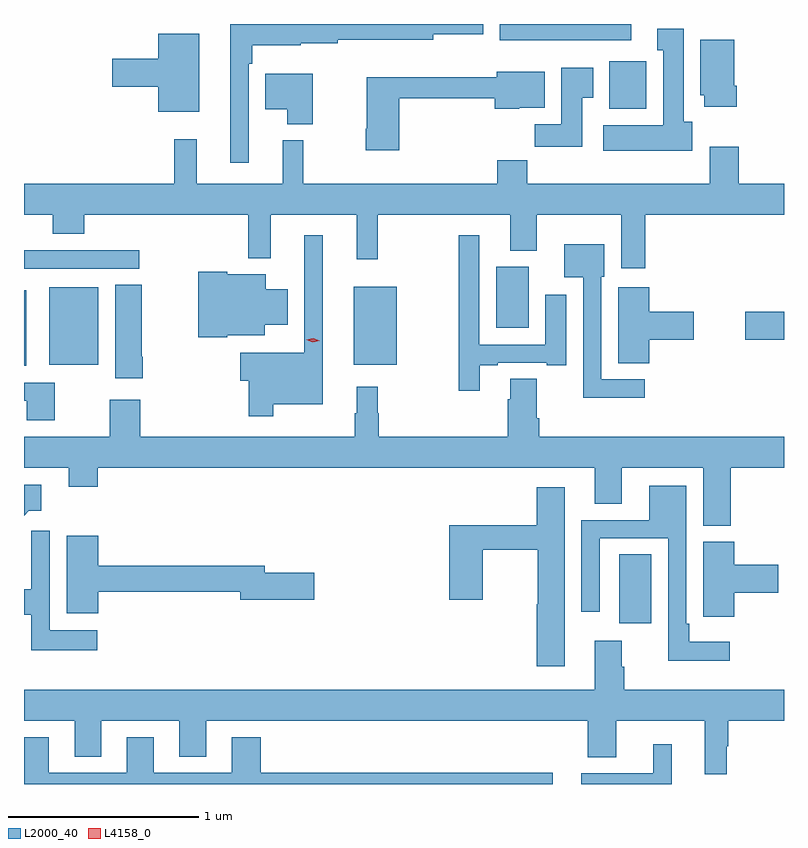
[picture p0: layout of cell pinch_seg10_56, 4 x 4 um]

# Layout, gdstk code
import gdstk
lib = gdstk.Library(unit=1e-6, precision=1e-09)
def R(c, l, rs):  # rectangles x0, y0, x1, y1
    for r in rs: c.add(gdstk.rectangle(r[:2], r[2:], *l))
def P(c, l, *ps):  # polygons
    for p in ps: c.add(gdstk.Polygon(p, *l))
L2000_40 = (2000, 40)
L4158_0 = (4158, 0)

pinch_seg10_56 = lib.new_cell('pinch_seg10_56')
R(pinch_seg10_56, L2000_40, [(842.441,1310.154,842.608,1310.516), (839.307,1311.509,839.32,1311.907), (839.441,1311.515,839.698,1311.922), (841.043,1311.515,841.27,1311.925), (843.102,1311.647,843.307,1311.794), (841.793,1311.71,841.963,1312.03), (839.307,1312.02,839.914,1312.116), (842.387,1312.862,842.583,1313.113), (841.811,1313.222,842.503,1313.308)])
P(pinch_seg10_56, L2000_40, [(840.489,1313.099),(840.509,1313.099),(840.509,1313.195),(840.763,1313.195),(840.763,1313.206),(840.959,1313.206),(840.959,1313.225),(841.462,1313.225),(841.462,1313.255),(841.723,1313.255),(841.723,1313.308),(840.392,1313.308),(840.392,1312.578),(840.489,1312.578)],
  [(842.824,1312.794),(842.779,1312.794),(842.779,1313.284),(842.639,1313.284),(842.639,1313.171),(842.672,1313.171),(842.672,1312.774),(842.355,1312.774),(842.355,1312.64),(842.824,1312.64)],
  [(840.229,1313.257),(840.014,1313.257),(840.014,1313.126),(839.772,1313.126),(839.772,1312.979),(840.014,1312.979),(840.014,1312.847),(840.229,1312.847)],
  [(843.059,1312.984),(843.046,1312.984),(843.046,1313.224),(842.867,1313.224),(842.867,1312.932),(842.888,1312.932),(842.888,1312.872),(843.059,1312.872)],
  [(842.245,1312.921),(842.302,1312.921),(842.302,1313.077),(842.135,1313.077),(842.135,1312.78),(841.996,1312.78),(841.996,1312.662),(842.245,1312.662)],
  [(841.283,1312.917),(841.784,1312.917),(841.784,1312.862),(841.914,1312.862),(841.914,1312.868),(842.047,1312.868),(842.047,1313.056),(841.796,1313.056),(841.796,1313.028),(841.6,1313.028),(841.6,1313.027),(841.112,1313.027),(841.112,1312.756),(841.105,1312.756),(841.105,1312.644),(841.283,1312.644)],
  [(840.826,1313.047),(840.578,1313.047),(840.578,1312.859),(840.692,1312.859),(840.692,1312.781),(840.826,1312.781)],
  [(842.576,1312.304),(843.307,1312.304),(843.307,1312.468),(843.068,1312.468),(843.068,1312.663),(842.915,1312.663),(842.915,1312.468),(841.955,1312.468),(841.955,1312.592),(841.799,1312.592),(841.799,1312.468),(840.778,1312.468),(840.778,1312.696),(840.668,1312.696),(840.668,1312.468),(840.215,1312.468),(840.215,1312.702),(840.097,1312.702),(840.097,1312.468),(839.307,1312.468),(839.307,1312.304),(839.459,1312.304),(839.459,1312.205),(839.624,1312.205),(839.624,1312.304),(840.487,1312.304),(840.487,1312.076),(840.605,1312.076),(840.605,1312.304),(841.058,1312.304),(841.058,1312.071),(841.168,1312.071),(841.168,1312.304),(841.865,1312.304),(841.865,1312.115),(842.005,1312.115),(842.005,1312.304),(842.45,1312.304),(842.45,1312.023),(842.576,1312.023)],
  [(841.705,1311.513),(841.801,1311.513),(841.801,1311.525),(842.057,1311.525),(842.057,1311.513),(842.161,1311.513),(842.161,1311.883),(842.051,1311.883),(842.051,1311.621),(841.704,1311.621),(841.704,1312.195),(841.596,1312.195),(841.596,1311.378),(841.705,1311.378)],
  [(840.619,1311.308),(840.88,1311.308),(840.88,1312.195),(840.783,1312.195),(840.783,1311.577),(840.446,1311.577),(840.446,1311.43),(840.49,1311.43),(840.49,1311.243),(840.619,1311.243)],
  [(842.575,1311.438),(842.346,1311.438),(842.346,1311.978),(842.362,1311.978),(842.362,1312.15),(842.15,1312.15),(842.15,1311.974),(842.25,1311.974),(842.25,1311.341),(842.575,1311.341)],
  [(840.378,1311.671),(840.574,1311.671),(840.574,1311.725),(840.694,1311.725),(840.694,1311.913),(840.58,1311.913),(840.58,1311.991),(840.378,1311.991),(840.378,1312.003),(840.224,1312.003),(840.224,1311.659),(840.378,1311.659)],
  [(839.933,1311.556),(839.928,1311.556),(839.928,1311.935),(839.786,1311.935),(839.786,1311.444),(839.933,1311.444)],
  [(842.597,1311.647),(842.833,1311.647),(842.833,1311.794),(842.597,1311.794),(842.597,1311.922),(842.435,1311.922),(842.435,1311.523),(842.597,1311.523)],
  [(843.026,1310.972),(843.307,1310.972),(843.307,1311.136),(842.018,1311.136),(842.018,1311.232),(842.005,1311.232),(842.005,1311.44),(841.865,1311.44),(841.865,1311.332),(841.853,1311.332),(841.853,1311.136),(841.175,1311.136),(841.175,1311.26),(841.168,1311.26),(841.168,1311.4),(841.058,1311.4),(841.058,1311.26),(841.047,1311.26),(841.047,1311.136),(839.918,1311.136),(839.918,1311.331),(839.758,1311.331),(839.758,1311.136),(839.307,1311.136),(839.307,1310.972),(839.543,1310.972),(839.543,1310.873),(839.696,1310.873),(839.696,1310.972),(842.312,1310.972),(842.312,1310.782),(842.452,1310.782),(842.452,1310.972),(842.882,1310.972),(842.882,1310.668),(843.026,1310.668)],
  [(839.469,1311.42),(839.307,1311.42),(839.307,1311.324),(839.321,1311.324),(839.321,1311.222),(839.469,1311.222)],
  [(839.333,1310.747),(839.398,1310.747),(839.398,1310.884),(839.307,1310.884),(839.307,1310.721)],
  [(843.022,1310.056),(842.809,1310.056),(842.809,1310.152),(842.793,1310.152),(842.793,1310.878),(842.597,1310.878),(842.597,1310.697),(842.241,1310.697),(842.241,1310.214),(842.337,1310.214),(842.337,1310.601),(842.697,1310.601),(842.697,1309.958),(843.022,1309.958)],
  [(842.152,1310.869),(842.006,1310.869),(842.006,1310.671),(841.544,1310.671),(841.544,1310.277),(841.722,1310.277),(841.722,1310.542),(842.011,1310.542),(842.011,1310.253),(842.006,1310.253),(842.006,1309.929),(842.152,1309.929)],
  [(839.692,1310.116),(839.442,1310.116),(839.442,1310.64),(839.346,1310.64),(839.346,1310.332),(839.307,1310.332),(839.307,1310.198),(839.345,1310.198),(839.345,1310.012),(839.692,1310.012)],
  [(839.698,1310.32),(840.446,1310.32),(840.446,1310.278),(840.835,1310.278),(840.835,1310.42),(840.574,1310.42),(840.574,1310.456),(839.698,1310.456),(839.698,1310.614),(839.531,1310.614),(839.531,1310.208),(839.698,1310.208)],
  [(843.044,1310.315),(843.277,1310.315),(843.277,1310.462),(843.044,1310.462),(843.044,1310.583),(842.882,1310.583),(842.882,1310.299),(842.883,1310.299),(842.883,1310.187),(843.044,1310.187)],
  [(843.005,1309.508),(843.013,1309.508),(843.013,1309.64),(843.307,1309.64),(843.307,1309.804),(842.465,1309.804),(842.465,1309.925),(842.452,1309.925),(842.452,1310.062),(842.312,1310.062),(842.312,1309.804),(839.307,1309.804),(839.307,1309.64),(839.573,1309.64),(839.573,1309.451),(839.713,1309.451),(839.713,1309.64),(840.125,1309.64),(840.125,1309.451),(840.265,1309.451),(840.265,1309.64),(842.273,1309.64),(842.273,1309.45),(842.425,1309.45),(842.425,1309.64),(842.891,1309.64),(842.891,1309.359),(843.005,1309.359)],
  [(842.089,1309.366),(840.554,1309.366),(840.554,1309.555),(840.401,1309.555),(840.401,1309.366),(839.989,1309.366),(839.989,1309.555),(839.849,1309.555),(839.849,1309.366),(839.437,1309.366),(839.437,1309.555),(839.307,1309.555),(839.307,1309.308),(842.089,1309.308)],
  [(842.716,1309.516),(842.618,1309.516),(842.618,1309.365),(842.24,1309.365),(842.24,1309.308),(842.716,1309.308)])
P(pinch_seg10_56, L4158_0, [(840.828,1311.633),(840.793,1311.645),(840.793,1311.645),(840.793,1311.645),(840.829,1311.653),(840.864,1311.641),(840.864,1311.641),(840.864,1311.641)])

lib.write_gds('pinch_seg10_56.gds')
